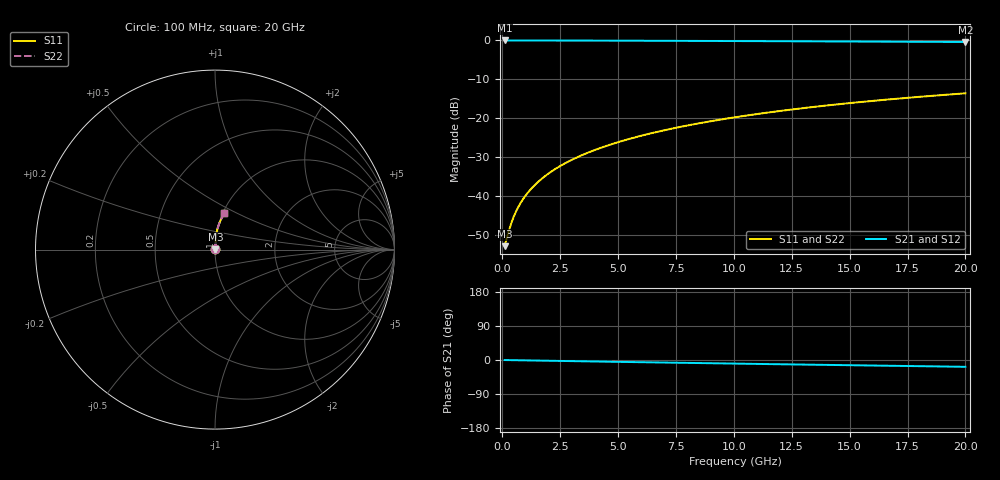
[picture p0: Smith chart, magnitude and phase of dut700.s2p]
! Touchstone file exported from HFSS 2024.1.0
!  File:  C:/UserFiles/LocalFiles/RDL_TSV_Batchsim/temp_RDL_top_700_1779849779.aedt
!  Generated:  10:46:09 AM May 27, 2026
!  Design:  RDL_top
!  Project:  temp_RDL_top_700_1779849779
!  Setup:  Setup1
!  Solution:  Sweep
! Variables:
!  dtsv = 10.80580581um
!  hbump = 3um
!  htsv = 99.35um
!  ldown = 100um
!  lrdl = 206.04um
!  p = 40
!  p1 = 47.33um
!  rhole = 1um
!  t = 450um
!  tdown = 3.915915916um
!  trdl = 2.24um
!  wdown = 15.38538539um
!  wrdl = 19.01um
# GHz S MA R 50.000000
! Terminal data exported
! Port[1] = Box2_T1
! Port[2] = Box2_T2
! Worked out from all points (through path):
!   200 points, 100 MHz to 20 GHz, reference 50 ohm
!   highest |S21| = -0.02 dB at 100 MHz (marker M1); lowest = -0.4 dB at 20 GHz (marker M2)
!   group delay of S21, straight-line fit = 2.48 ps
!   lowest |S11| = -52.7 dB at 100 MHz (marker M3), VSWR 1.00, Z = 50.2 + j0.105 ohm
!   |S11| at or under -10 dB: start of sweep to end of sweep
!   |S22| runs from -52.7 to -13.6 dB; largest |S21 - S12| = 4.2e-15
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0.1  0.002305 26.9  0.9979 -0.1  0.9979 -0.1  0.002305 26.9
! Gamma 0 0 0 0
! Port Impedance 50 0 50 0
0.3  0.003762 55.4  0.9978 -0.3  0.9978 -0.3  0.003762 55.4
0.4  0.004648 61.9  0.9978 -0.4  0.9978 -0.4  0.004648 61.9
0.5  0.005561 66.2  0.9977 -0.5  0.9977 -0.5  0.005561 66.2
0.6  0.006484 69.3  0.9976 -0.6  0.9976 -0.6  0.006484 69.3
0.7  0.007411 71.6  0.9975 -0.7  0.9975 -0.7  0.007411 71.6
0.9  0.009273 74.9  0.9974 -0.9  0.9974 -0.9  0.009273 74.9
1.2  0.01209 78.1  0.9972 -1.2  0.9972 -1.2  0.01209 78.1
1.4  0.01397 79.6  0.997 -1.4  0.997 -1.4  0.01397 79.6
1.7  0.01683 81.2  0.9968 -1.7  0.9968 -1.7  0.01683 81.2
2.2  0.02164 83.0  0.9963 -2.2  0.9963 -2.2  0.02164 83.0
2.8  0.02749 84.3  0.9956 -2.8  0.9956 -2.8  0.02749 84.3
3.5  0.03441 85.2  0.9946 -3.5  0.9946 -3.5  0.03441 85.2
4.2  0.04144 85.7  0.9935 -4.1  0.9935 -4.1  0.04144 85.7
5  0.04961 86.0  0.9921 -4.9  0.9921 -4.9  0.04961 86.0
5.9  0.05894 86.0  0.9903 -5.8  0.9903 -5.8  0.05894 86.0
6.8  0.06842 85.8  0.9884 -6.6  0.9884 -6.6  0.06842 85.8
8.4  0.08555 85.1  0.9847 -8.1  0.9847 -8.1  0.08555 85.1
10.1  0.104 84.0  0.9806 -9.6  0.9806 -9.6  0.104 84.0
13.4  0.1399 81.4  0.9721 -12.4  0.9721 -12.4  0.1399 81.4
16.7  0.1753 78.5  0.9631 -15.2  0.9631 -15.2  0.1753 78.5
20  0.2097 75.5  0.9537 -18.0  0.9537 -18.0  0.2097 75.5
